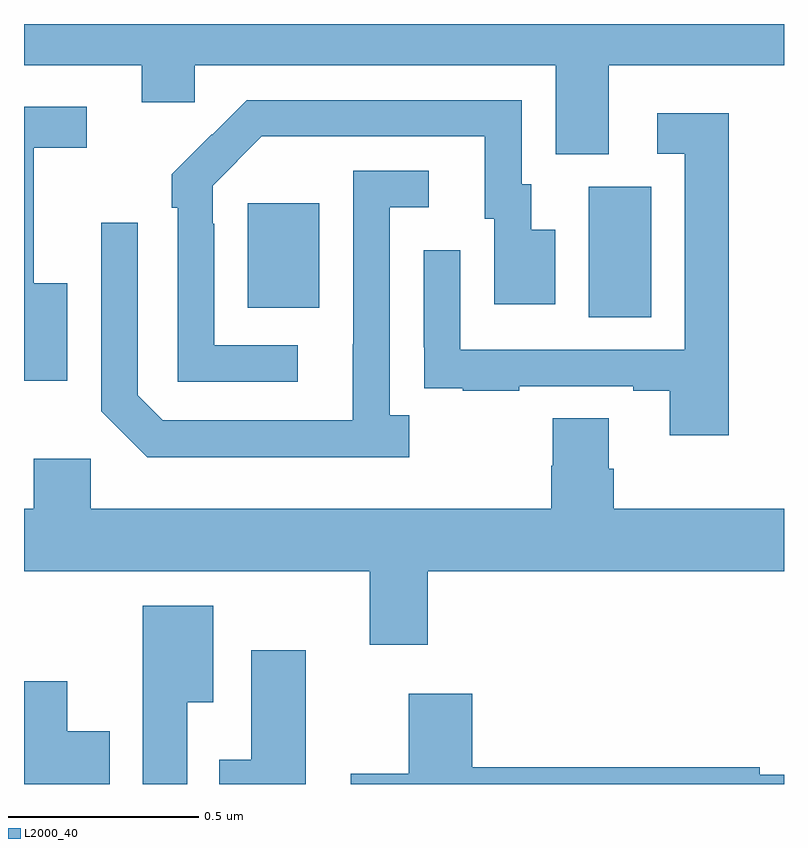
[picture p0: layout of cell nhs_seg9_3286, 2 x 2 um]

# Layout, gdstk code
import gdstk
lib = gdstk.Library(unit=1e-6, precision=1e-09)
def R(c, l, rs):  # rectangles x0, y0, x1, y1
    for r in rs: c.add(gdstk.rectangle(r[:2], r[2:], *l))
def P(c, l, *ps):  # polygons
    for p in ps: c.add(gdstk.Polygon(p, *l))
L2000_40 = (2000, 40)

nhs_seg9_3286 = lib.new_cell('nhs_seg9_3286')
R(nhs_seg9_3286, L2000_40, [(152.486,1223.728,152.65,1224.072), (151.589,1223.753,151.777,1224.028)])
P(nhs_seg9_3286, L2000_40, [(152.539,1224.392),(153,1224.392),(153,1224.5),(151,1224.5),(151,1224.392),(151.31,1224.392),(151.31,1224.294),(151.449,1224.294),(151.449,1224.392),(152.399,1224.392),(152.399,1224.157),(152.539,1224.157)],
  [(151.72,1223.655),(151.5,1223.655),(151.5,1223.975),(151.497,1223.975),(151.497,1224.075),(151.626,1224.204),(152.213,1224.204),(152.213,1223.988),(152.237,1223.988),(152.237,1223.763),(152.398,1223.763),(152.398,1223.959),(152.335,1223.959),(152.335,1224.078),(152.31,1224.078),(152.31,1224.3),(151.586,1224.3),(151.495,1224.209),(151.494,1224.21),(151.389,1224.105),(151.389,1224.017),(151.404,1224.017),(151.404,1223.559),(151.72,1223.559)],
  [(151.114,1223.818),(151.025,1223.818),(151.025,1224.174),(151.165,1224.174),(151.165,1224.282),(151,1224.282),(151,1223.561),(151.114,1223.561)],
  [(152.855,1224.265),(152.667,1224.265),(152.667,1224.159),(152.739,1224.159),(152.739,1223.643),(152.148,1223.643),(152.148,1223.905),(152.052,1223.905),(152.052,1223.65),(152.053,1223.65),(152.053,1223.541),(152.155,1223.541),(152.155,1223.535),(152.303,1223.535),(152.303,1223.547),(152.603,1223.547),(152.603,1223.535),(152.699,1223.535),(152.699,1223.418),(152.855,1223.418)],
  [(152.014,1223.47),(151.962,1223.47),(151.962,1224.018),(152.065,1224.018),(152.065,1224.114),(151.866,1224.114),(151.866,1223.657),(151.865,1223.657),(151.865,1223.457),(151.365,1223.457),(151.299,1223.523),(151.299,1223.977),(151.203,1223.977),(151.203,1223.481),(151.324,1223.36),(152.014,1223.36)],
  [(152.063,1223.06),(153,1223.06),(153,1223.224),(152.552,1223.224),(152.552,1223.33),(152.539,1223.33),(152.539,1223.462),(152.392,1223.462),(152.392,1223.337),(152.387,1223.337),(152.387,1223.224),(151.176,1223.224),(151.176,1223.356),(151.025,1223.356),(151.025,1223.224),(151,1223.224),(151,1223.06),(151.91,1223.06),(151.91,1222.866),(152.063,1222.866)],
  [(151.429,1222.715),(151.498,1222.715),(151.498,1222.969),(151.313,1222.969),(151.313,1222.5),(151.429,1222.5)],
  [(151.741,1222.852),(151.598,1222.852),(151.598,1222.564),(151.514,1222.564),(151.514,1222.5),(151.741,1222.5)],
  [(151.225,1222.639),(151.114,1222.639),(151.114,1222.771),(151,1222.771),(151,1222.5),(151.225,1222.5)],
  [(153,1222.524),(152.936,1222.524),(152.936,1222.544),(152.18,1222.544),(152.18,1222.738),(152.012,1222.738),(152.012,1222.527),(151.86,1222.527),(151.86,1222.5),(153,1222.5)])

lib.write_gds('nhs_seg9_3286.gds')
